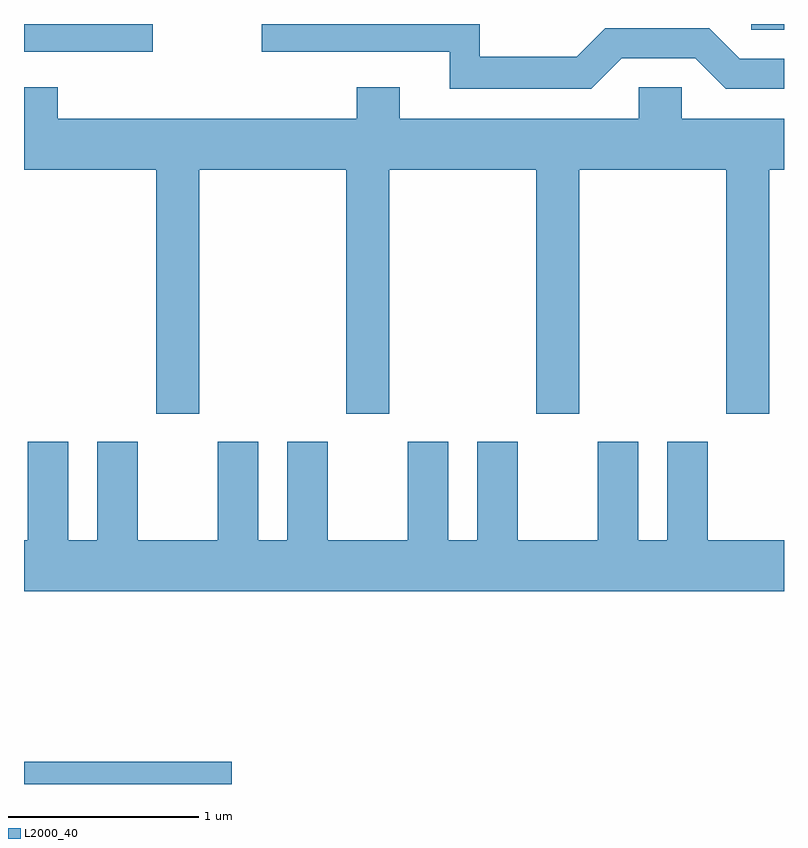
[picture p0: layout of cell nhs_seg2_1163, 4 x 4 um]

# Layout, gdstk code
import gdstk
lib = gdstk.Library(unit=1e-6, precision=1e-09)
def R(c, l, rs):  # rectangles x0, y0, x1, y1
    for r in rs: c.add(gdstk.rectangle(r[:2], r[2:], *l))
def P(c, l, *ps):  # polygons
    for p in ps: c.add(gdstk.Polygon(p, *l))
L2000_40 = (2000, 40)

nhs_seg2_1163 = lib.new_cell('nhs_seg2_1163')
R(nhs_seg2_1163, L2000_40, [(219.611,991.802,220.704,991.919), (219.611,995.656,220.288,995.802), (223.438,995.771,223.611,995.802)])
P(nhs_seg2_1163, L2000_40, [(222.757,995.621),(223.144,995.621),(223.304,995.461),(223.611,995.461),(223.611,995.619),(223.377,995.619),(223.217,995.779),(222.669,995.779),(222.519,995.629),(222.009,995.629),(222.009,995.802),(220.863,995.802),(220.863,995.656),(221.851,995.656),(221.851,995.461),(222.597,995.461)],
  [(221.589,995.469),(221.361,995.469),(221.361,995.304),(219.789,995.304),(219.789,995.469),(219.611,995.469),(219.611,995.036),(220.306,995.036),(220.306,993.751),(220.534,993.751),(220.534,995.036),(221.306,995.036),(221.306,993.751),(221.534,993.751),(221.534,995.036),(222.306,995.036),(222.306,993.751),(222.534,993.751),(222.534,995.036),(223.306,995.036),(223.306,993.751),(223.534,993.751),(223.534,995.036),(223.611,995.036),(223.611,995.304),(223.074,995.304),(223.074,995.469),(222.846,995.469),(222.846,995.304),(221.589,995.304)],
  [(223.611,993.084),(223.209,993.084),(223.209,993.604),(222.996,993.604),(222.996,993.084),(222.844,993.084),(222.844,993.604),(222.631,993.604),(222.631,993.084),(222.209,993.084),(222.209,993.604),(221.996,993.604),(221.996,993.084),(221.844,993.084),(221.844,993.604),(221.631,993.604),(221.631,993.084),(221.209,993.084),(221.209,993.604),(220.996,993.604),(220.996,993.084),(220.844,993.084),(220.844,993.604),(220.631,993.604),(220.631,993.084),(220.209,993.084),(220.209,993.604),(219.996,993.604),(219.996,993.084),(219.844,993.084),(219.844,993.604),(219.631,993.604),(219.631,993.084),(219.611,993.084),(219.611,992.816),(223.611,992.816)])

lib.write_gds('nhs_seg2_1163.gds')
